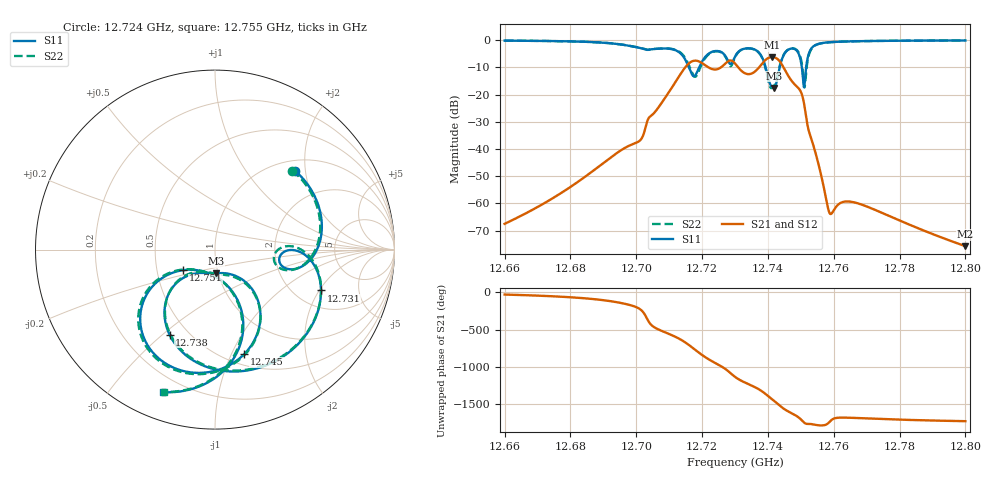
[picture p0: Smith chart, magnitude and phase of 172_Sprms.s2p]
! TOUCHSTONE file generated by CST MICROWAVE STUDIO
! Date and time: Wed Jul 31 19:34:11 2024
! Project name: WaveGuide_BPF-Ver4.1_U-shape_Ku_T3_C4_CWA_2.cst
! Parameters = {cavity_h=16; cavity_l0=10; cavity_l1=15.2228; cavity_l2=16.8822; cavity_l3=17.0993; cavity_l4=17.2739; cavity_l5=17.112; cavity_l6=17.6304; cavity_r=2.5; cavity_screw_l=0.5; cavity_screw_r=1.5; cavity_w=8; iris_h00=0; iris_h01=8.8254; iris_h112=0; iris_h12=5.5861; iris_h211=3.6544; i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
! Header version: 2018
! Port assignment regex: !\s*Touchstone port\s*([0-9]+)\s*=\s*(CST MWS port|CST DS port)\s*([0-9]+|Zmin|Zmax)\s*\(\"(.*)\"\)(\s*mode\s*([0-9]+))?.*
! Touchstone port assignment:
! Touchstone port 1 = CST MWS port 1 ("")
! Touchstone port 2 = CST MWS port 2 ("")
# GHz S RI R 50
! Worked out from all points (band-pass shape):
!   5001 points, 12.66 GHz to 12.8 GHz, reference 50 ohm
!   highest |S21| = -6.27 dB at 12.741 GHz (marker M1); lowest = -75.7 dB at 12.8 GHz (marker M2)
!   |S21| within 3 dB of the highest: 12.71539 GHz to 12.72098 GHz (5.587 MHz wide, 0.0439 % of centre); 12.73783 GHz to 12.74438 GHz (6.555 MHz wide, 0.0514 % of centre) (the widest 2 of 3)
!   lowest |S11| = -17.6 dB at 12.742 GHz (marker M3), VSWR 1.30, Z = 48.8 - j13 ohm
!   |S11| at or under -10 dB: 12.71598 GHz to 12.71913 GHz (3.152 MHz wide, 0.0248 % of centre); 12.73929 GHz to 12.74356 GHz (4.269 MHz wide, 0.0335 % of centre); 12.7503 GHz to 12.75161 GHz (1.312 MHz wide, 0.0103 % of centre)
!   |S22| runs from -17.7 to -0.1 dB; largest |S21 - S12| = 1e-09
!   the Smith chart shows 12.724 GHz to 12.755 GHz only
!   S11 on the Smith chart (normalised r, x): 12.724 GHz: 1.23, +1.76; 12.731 GHz: 2.73, -2.07; 12.738 GHz: 0.40, -0.53; 12.745 GHz: 0.61, -1.12; 12.751 GHz: 0.68, -0.16; 12.755 GHz: 0.12, -0.69
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12.66  0.4373 0.8728  0.000361 -0.000219  0.000361 -0.000219  0.4382 0.8724
12.68335  0.8833 0.3049  0.000579 -0.00271  0.000579 -0.00271  0.8833 0.306
12.69245  0.7946 -0.3542  -0.00375 -0.00607  -0.00375 -0.00607  0.7972 -0.3506
12.69875  0.0712 -0.7635  -0.0121 8.16e-05  -0.0121 8.16e-05  0.0823 -0.7647
12.70668  -0.5478 0.4249  -0.0422 -0.0386  -0.0422 -0.0386  -0.5657 0.406
12.70987  0.0583 0.6915  -0.1044 0.0332  -0.1044 0.0332  0.0221 0.6995
12.71303  0.5425 0.248  -0.0264 0.2154  -0.0264 0.2154  0.5315 0.3056
12.716  0.1611 -0.2699  0.3645 0.083  0.3645 0.083  0.2427 -0.2455
12.719  -0.2763 0.1243  0.0109 -0.4064  0.0109 -0.4064  -0.2656 0.0517
12.72378  0.4481 0.4373  -0.2102 0.197  -0.2102 0.197  0.4313 0.4401
12.73  0.4968 -0.026  0.219 -0.2998  0.219 -0.2998  0.4798 7.09e-05
12.73134  0.5906 -0.2274  -0.0119 -0.2964  -0.0119 -0.2964  0.5904 -0.2023
12.73778  -0.2532 -0.4739  -0.1954 0.28  -0.1954 0.28  -0.2515 -0.4664
12.74126  -0.0347 -0.1325  0.4834 0.0486  0.4834 0.0486  -0.0101 -0.1313
12.74179  0.00565 -0.1313  0.4687 -0.1149  0.4687 -0.1149  0.0299 -0.1374
12.7454  0.1636 -0.5814  -0.1964 -0.1804  -0.1964 -0.1804  0.1609 -0.5906
12.75061  -0.1784 -0.1147  0.0292 0.0823  0.0292 0.0823  -0.2343 -0.1226
12.75335  -0.00667 -0.7199  0.012 0.00765  0.012 0.00765  0.00975 -0.702
12.75523  -0.2917 -0.7942  0.0054 0.00175  0.0054 0.00175  -0.2823 -0.7924
12.75898  -0.6145 -0.6779  0.000171 0.000616  0.000171 0.000616  -0.6125 -0.6786
12.77668  -0.9665 -0.0689  -7.97e-05 0.000589  -7.97e-05 0.000589  -0.9666 -0.0671
12.8  -0.9218 0.3434  4.97e-05 0.000156  4.97e-05 0.000156  -0.921 0.3456
